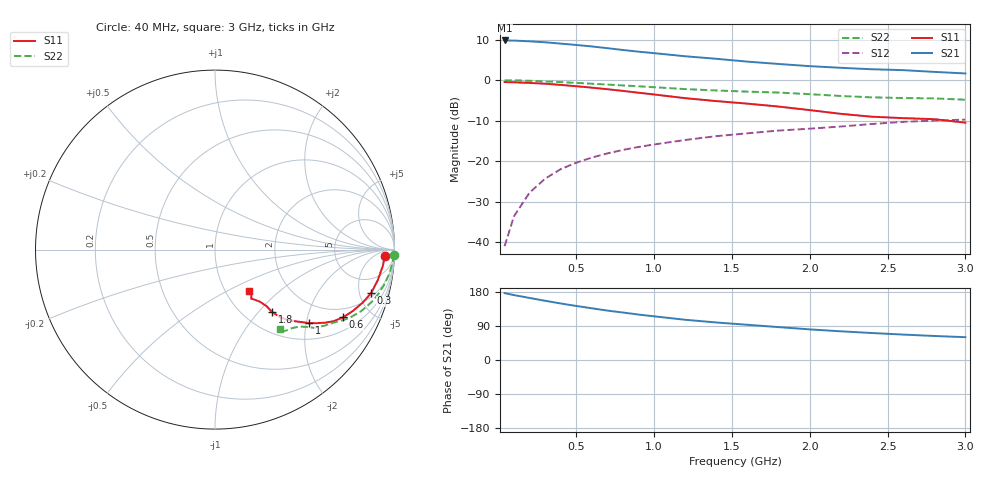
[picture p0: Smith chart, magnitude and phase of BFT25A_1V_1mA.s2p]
! Filename:  BFT25AD.S2P  Version:  2.0
! Philips part #: BFT25A  Date: Aug 1990
! Bias condition: Vce=1V, Ic=1mA
#  MHz  S  MA  R  50
! Freq  S11  S21  S12  S22  !GUM [dB]
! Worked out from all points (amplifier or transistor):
!   21 points, 40 MHz to 3 GHz, reference 50 ohm
!   highest |S21| = 9.8 dB at 40 MHz (marker M1)
!   |S21| within 3 dB of that: start of sweep to 965 MHz
!   unconditionally stable (mu >= 1): 2.046 GHz to end of sweep
!   at 300 MHz: K = 0.23, MSG = 16.8 dB, |S12| = -24.3 dB
!   at 1 GHz: K = 0.65, MSG = 11.3 dB, |S12| = -15.9 dB
!   at 3 GHz: K = 1.12, MAG = 3.6 dB, |S12| = -9.7 dB
!   S11 on the Smith chart (normalised r, x): 40 MHz: 24, -17; 300 MHz: 2.43, -6.40; 600 MHz: 1.55, -3.36; 1 GHz: 1.42, -2.08; 1.8 GHz: 1.33, -1.19; 3 GHz: 1.29, -0.65
40  0.946 -2.2  3.078 176.5  0.009 86.5  0.996 -1.6
100  0.94 -5.4  3.067 171.3  0.021 85.3  0.993 -4.0
200  0.923 -10.6  3.003 163.8  0.041 82.7  0.981 -7.8
300  0.903 -15.6  2.923 156.3  0.061 79.5  0.964 -11.5
400  0.873 -19.9  2.815 149.2  0.08 76.7  0.945 -14.9
500  0.84 -24.1  2.708 142.6  0.096 74.5  0.924 -18.0
600  0.807 -27.9  2.597 136.5  0.111 72.2  0.902 -20.7
700  0.772 -31.1  2.472 130.4  0.125 70.0  0.881 -23.1
800  0.736 -33.6  2.35 125.3  0.138 68.5  0.859 -25.1
900  0.699 -35.9  2.24 119.9  0.15 67.0  0.839 -27.0
1000  0.665 -38.0  2.147 115.3  0.161 65.6  0.817 -28.6
1200  0.599 -41.8  1.966 106.2  0.183 63.0  0.775 -31.7
1400  0.551 -44.8  1.83 99.0  0.204 61.2  0.745 -34.6
1600  0.513 -46.3  1.688 92.9  0.221 60.2  0.721 -36.7
1800  0.472 -47.6  1.58 86.8  0.239 59.0  0.702 -38.4
2000  0.427 -47.6  1.485 80.8  0.252 57.1  0.671 -40.0
2200  0.384 -49.2  1.417 75.7  0.268 55.4  0.637 -42.3
2400  0.354 -51.8  1.36 71.2  0.288 54.2  0.613 -45.5
2600  0.34 -53.7  1.326 67.1  0.306 52.9  0.601 -48.5
2800  0.33 -52.0  1.262 63.4  0.317 52.2  0.595 -49.7
3000  0.299 -50.0  1.208 60.2  0.326 51.6  0.573 -50.7
